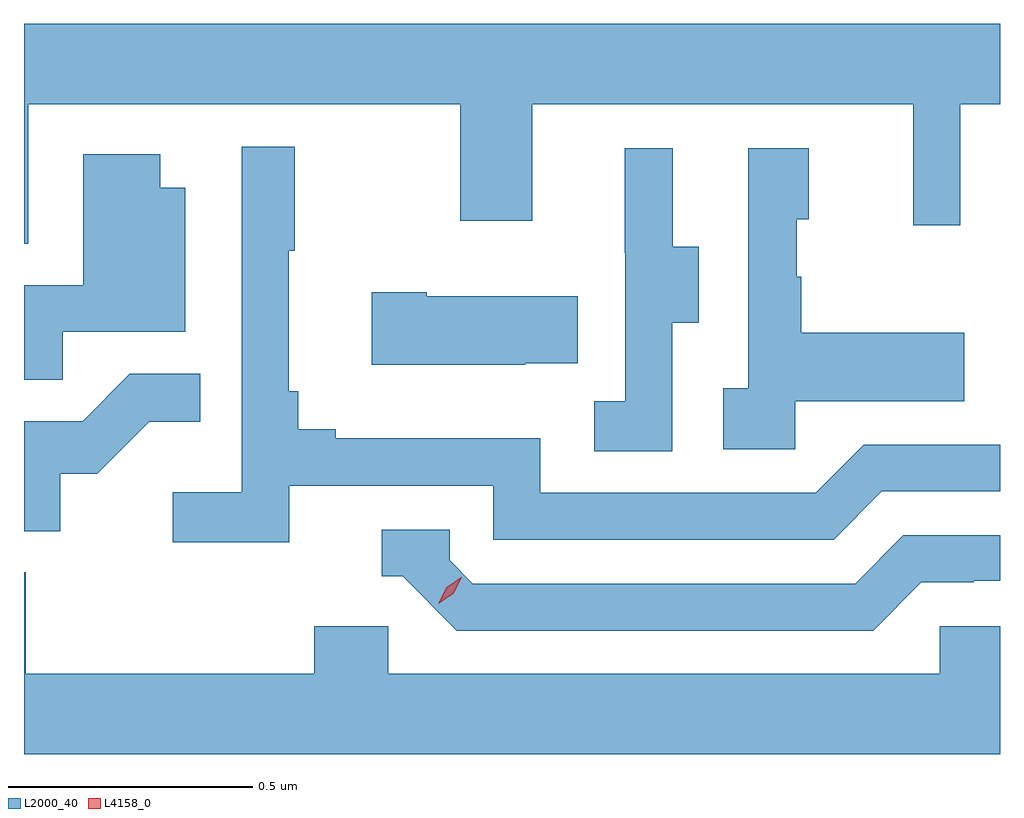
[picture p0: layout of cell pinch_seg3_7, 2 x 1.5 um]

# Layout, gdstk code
import gdstk
lib = gdstk.Library(unit=1e-6, precision=1e-09)
def P(c, l, *ps):  # polygons
    for p in ps: c.add(gdstk.Polygon(p, *l))
L2000_40 = (2000, 40)
L4158_0 = (4158, 0)

pinch_seg3_7 = lib.new_cell('pinch_seg3_7')
P(pinch_seg3_7, L2000_40, [(1127.977,747.536),(1128.862,747.536),(1128.862,747.297),(1129.009,747.297),(1129.009,747.536),(1129.79,747.536),(1129.79,747.288),(1129.887,747.288),(1129.887,747.536),(1129.968,747.536),(1129.968,747.7),(1127.968,747.7),(1127.968,747.25),(1127.977,747.25)],
  [(1128.512,746.754),(1128.93,746.754),(1128.93,746.643),(1129.627,746.643),(1129.726,746.742),(1129.968,746.742),(1129.968,746.838),(1129.689,746.838),(1129.59,746.739),(1129.026,746.739),(1129.026,746.851),(1128.607,746.851),(1128.607,746.87),(1128.53,746.87),(1128.53,746.947),(1128.511,746.947),(1128.511,747.235),(1128.523,747.235),(1128.523,747.448),(1128.414,747.448),(1128.414,746.74),(1128.273,746.74),(1128.273,746.638),(1128.512,746.638)],
  [(1129.548,746.927),(1129.895,746.927),(1129.895,747.067),(1129.561,747.067),(1129.561,747.182),(1129.551,747.182),(1129.551,747.3),(1129.576,747.3),(1129.576,747.445),(1129.452,747.445),(1129.452,746.954),(1129.401,746.954),(1129.401,746.829),(1129.548,746.829)],
  [(1129.296,747.088),(1129.351,747.088),(1129.351,747.243),(1129.297,747.243),(1129.297,747.445),(1129.199,747.445),(1129.199,747.231),(1129.2,747.231),(1129.2,746.927),(1129.137,746.927),(1129.137,746.824),(1129.296,746.824)],
  [(1128.047,747.069),(1128.298,747.069),(1128.298,747.364),(1128.247,747.364),(1128.247,747.433),(1128.089,747.433),(1128.089,747.165),(1127.968,747.165),(1127.968,746.971),(1128.047,746.971)],
  [(1128.995,747.005),(1129.103,747.005),(1129.103,747.142),(1128.793,747.142),(1128.793,747.15),(1128.681,747.15),(1128.681,747.002),(1128.995,747.002)],
  [(1128.042,746.778),(1128.118,746.778),(1128.225,746.885),(1128.329,746.885),(1128.329,746.983),(1128.185,746.983),(1128.088,746.886),(1127.968,746.886),(1127.968,746.661),(1128.042,746.661)],
  [(1129.807,746.556),(1129.914,746.556),(1129.914,746.559),(1129.968,746.559),(1129.968,746.652),(1129.77,746.652),(1129.671,746.553),(1128.888,746.553),(1128.84,746.601),(1128.84,746.664),(1128.701,746.664),(1128.701,746.568),(1128.744,746.568),(1128.855,746.457),(1129.708,746.457)],
  [(1129.968,746.466),(1129.845,746.466),(1129.845,746.368),(1128.714,746.368),(1128.714,746.466),(1128.563,746.466),(1128.563,746.368),(1127.972,746.368),(1127.972,746.576),(1127.968,746.576),(1127.968,746.204),(1129.968,746.204)])
P(pinch_seg3_7, L4158_0, [(1128.818,746.513),(1128.818,746.514),(1128.834,746.546),(1128.864,746.566),(1128.865,746.566),(1128.865,746.566),(1128.849,746.533),(1128.819,746.513)])

lib.write_gds('pinch_seg3_7.gds')
